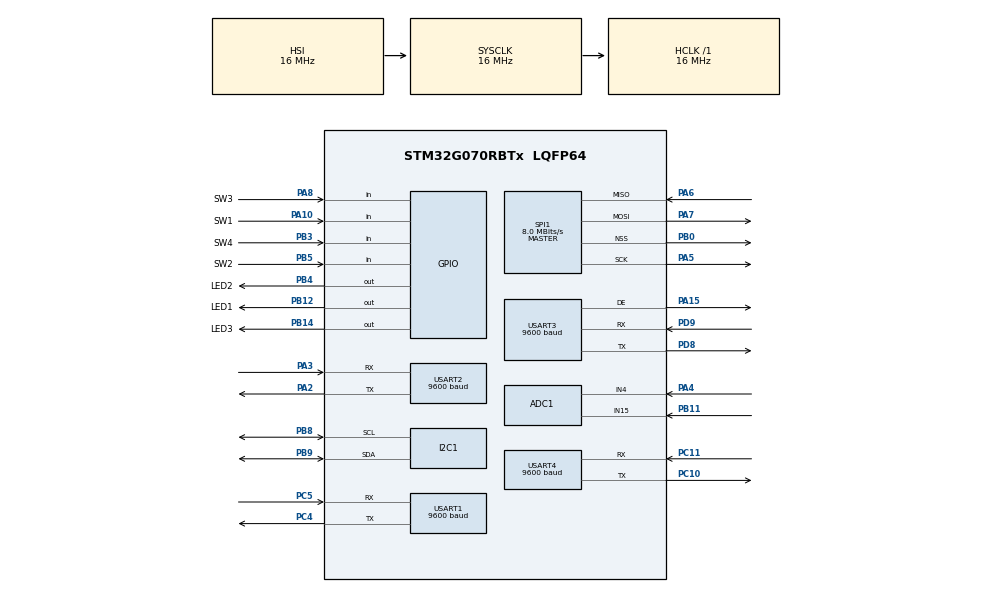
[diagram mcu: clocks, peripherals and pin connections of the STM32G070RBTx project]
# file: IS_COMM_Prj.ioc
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ADC1.DiscontinuousConvMode=ENABLE
ADC1.NbrOfConversion=1
ADC1.NbrOfConversionFlag=0
ADC1.SelectedChannel=ADC_CHANNEL_4|ADC_CHANNEL_15
ADC1.Sequencer=NOT_FULLY_CONFIGURABLE
ADC1.master=1
Mcu.Family=STM32G0
Mcu.Name=STM32G070RBTx
Mcu.Package=LQFP64
NVIC.USART1_IRQn=true\:0\:0\:false\:false\:true\:true\:true
NVIC.USART2_IRQn=true\:0\:0\:false\:false\:true\:true\:true
NVIC.USART3_4_IRQn=true\:0\:0\:false\:false\:true\:true\:true
PA10.GPIO_Label=SW1
PA10.Signal=GPIO_Input
PA15.Mode=Hardware Flow Control (RS485)
PA15.Signal=USART3_DE
PA2.Mode=Asynchronous
PA2.Signal=USART2_TX
PA3.Mode=Asynchronous
PA3.Signal=USART2_RX
PA4.Mode=IN4
PA4.Signal=ADC1_IN4
PA5.Mode=Full_Duplex_Master
PA5.Signal=SPI1_SCK
PA6.Mode=Full_Duplex_Master
PA6.Signal=SPI1_MISO
PA7.Mode=Full_Duplex_Master
PA7.Signal=SPI1_MOSI
PA8.GPIO_Label=SW3
PA8.Signal=GPIO_Input
PB0.Mode=NSS_Signal_Hard_Output
PB0.Signal=SPI1_NSS
PB11.Signal=SharedAnalog_PB11
PB12.GPIO_Label=LED1
PB12.Signal=GPIO_Output
PB14.GPIO_Label=LED3
PB14.Signal=GPIO_Output
PB3.GPIO_Label=SW4
PB3.Signal=GPIO_Input
PB4.GPIO_Label=LED2
PB4.Signal=GPIO_Output
PB5.GPIO_Label=SW2
PB5.Signal=GPIO_Input
PB8.Mode=I2C
PB8.Signal=I2C1_SCL
PB9.Mode=I2C
PB9.Signal=I2C1_SDA
PC10.Mode=Asynchronous
PC10.Signal=USART4_TX
PC11.Mode=Asynchronous
PC11.Signal=USART4_RX
PC4.Mode=Asynchronous
PC4.Signal=USART1_TX
PC5.Mode=Asynchronous
PC5.Signal=USART1_RX
PD8.Mode=Asynchronous
PD8.Signal=USART3_TX
PD9.Mode=Asynchronous
PD9.Signal=USART3_RX
ProjectManager.HeapSize=0x200
ProjectManager.StackSize=0x400
ProjectManager.TargetToolchain=EWARM V8.32
RCC.AHBFreq_Value=16000000
RCC.CortexFreq_Value=16000000
RCC.EXTERNAL_CLOCK_VALUE=48000
RCC.HCLKFreq_Value=16000000
RCC.HSE_VALUE=8000000
RCC.HSI_VALUE=16000000
RCC.LSE_VALUE=32768
RCC.SYSCLKFreq_VALUE=16000000
RCC.VCOOutputFreq_Value=128000000
SH.SharedAnalog_PB11.0=GPIO_Analog
SH.SharedAnalog_PB11.1=ADC1_IN15,IN15
SPI1.CalculateBaudRate=8.0 MBits/s
SPI1.DataSize=SPI_DATASIZE_8BIT
SPI1.Direction=SPI_DIRECTION_2LINES
SPI1.Mode=SPI_MODE_MASTER
SPI1.VirtualNSS=VM_NSSHARD
SPI1.VirtualType=VM_MASTER
USART1.BaudRate=9600
USART1.VirtualMode-Asynchronous=VM_ASYNC
USART2.BaudRate=9600
USART2.VirtualMode-Asynchronous=VM_ASYNC
USART3.BaudRate=9600
USART3.VirtualMode-Asynchronous=VM_ASYNC
USART3.VirtualMode-Hardware\ Flow\ Control\ (RS485)=VM_ASYNC
USART4.BaudRate=9600
USART4.VirtualMode-Asynchronous=VM_ASYNC
VP_SYS_VS_DBSignals.Mode=DisableDeadBatterySignals
board=custom

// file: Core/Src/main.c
/* USER CODE BEGIN Header */
/**
  ******************************************************************************
  * @file           : main.c
  * @brief          : Main program body
  ******************************************************************************
  * @attention
  *
  * <h2><center>&copy; Copyright (c) 2022 STMicroelectronics.
  * All rights reserved.</center></h2>
  *
  * This software component is licensed by ST under BSD 3-Clause license,
  * the "License"; You may not use this file except in compliance with the
  * License. You may obtain a copy of the License at:
  *                        opensource.org/licenses/BSD-3-Clause
  *
  ******************************************************************************
  */
/* USER CODE END Header */
#include "main.h"

/* USER CODE BEGIN Includes */
#include "stm32g0xx_ll_usart.h"
#include "scheduler.h"
#include "serial.h"
#include "gps.h"
#include "PC_interface.h"

/* USER CODE END Includes */

ADC_HandleTypeDef hadc1;

I2C_HandleTypeDef hi2c1;

SPI_HandleTypeDef hspi1;

UART_HandleTypeDef huart1;
UART_HandleTypeDef huart2;
UART_HandleTypeDef huart3;
UART_HandleTypeDef huart4;

/* USER CODE BEGIN PV */
// scheduler stuff
extern uint8_t ten_mS_Flag;
extern uint8_t twentyfive_mS_Flag;
extern uint8_t hundred_mS_Flag;
extern uint8_t one_S_Flag;

uint8_t charCounter = 0;
uint8_t char2Send[2] = {0, 0};

// Fiber Optic stuff
uint8_t byteReceived = 0;

// Keyboard Stuff
uint8_t keys = 0x0F;

/* USER CODE END PV */

void SystemClock_Config(void);
static void MX_GPIO_Init(void);
static void MX_USART3_UART_Init(void);
static void MX_USART1_UART_Init(void);
static void MX_USART2_UART_Init(void);
static void MX_USART4_UART_Init(void);
static void MX_ADC1_Init(void);
static void MX_I2C1_Init(void);
static void MX_SPI1_Init(void);

int main(void)
{

  /* MCU Configuration--------------------------------------------------------*/

  /* Reset of all peripherals, Initializes the Flash interface and the Systick. */
  HAL_Init();

  /* Configure the system clock */
  SystemClock_Config();

  /* Initialize all configured peripherals */
  MX_GPIO_Init();
  MX_USART3_UART_Init();
  MX_USART1_UART_Init();
  MX_USART2_UART_Init();
  MX_USART4_UART_Init();
  MX_ADC1_Init();
  MX_I2C1_Init();
  MX_SPI1_Init();
  /* USER CODE BEGIN 2 */
  LL_USART_EnableIT_RXNE_RXFNE(USART1); // GPS
  LL_USART_EnableIT_RXNE_RXFNE(USART2); // PC
  LL_USART_EnableIT_RXNE_RXFNE(USART3);  // Remotes (ModBus and DIG_Link
  LL_USART_EnableIT_RXNE_RXFNE(USART4);  // Fiber Optice

  /* USER CODE END 2 */

  /* Infinite loop */
  /* USER CODE BEGIN WHILE */
  while (1)
  {
    //---------------------------------
    // 10mS Tasks
    if (ten_mS_Flag) {
      ten_mS_Flag = false;

    }  // end of 10mS Tasks
    //---------------------------------

    //---------------------------------
    // 25mS Tasks
    if (twentyfive_mS_Flag) {
      twentyfive_mS_Flag = false;

    }  // end of 25mS Tasks
    //---------------------------------

    //---------------------------------
    // 100mS Tasks
    if (hundred_mS_Flag) {
      hundred_mS_Flag = false;

      keys = (HAL_GPIO_ReadPin(SW1) << 3) || (HAL_GPIO_ReadPin(SW1) << 2) || (HAL_GPIO_ReadPin(SW1) << 1) || (HAL_GPIO_ReadPin(SW1) << 0);

    }  // end of 100mS Tasks
    //---------------------------------

    //---------------------------------
    // 1 Sec Tasks
    if (one_S_Flag) {
      one_S_Flag = false;

      char2Send[0] = charCounter++ + 0x40;
      HAL_UART_Transmit(&huart3, char2Send, 1, 1000);   // remote bus
      HAL_UART_Transmit(&huart4, char2Send, 1, 1000);   // fiber optic

      if (charCounter > 0x3A) {
        charCounter = 0;
        char2Send[0] = '\n';
        HAL_UART_Transmit(&huart3, char2Send, 1, 1000);
        HAL_UART_Transmit(&huart4, char2Send, 1, 1000);
      }

    } // end of 1Sec Tasks
    //---------------------------------

    //---------------------------------
    // Every time through the loop

    // If a packet is received...
    if (gpsProcessPacket == true) {
      gpsProcessPacket = false;

      ProcessGpsPacket();
    }

    if (pcProcessPacket == true) {
      pcProcessPacket = false;

      ProcessGpsPacket();
    }

    // If the buffer contains characters
    if (!IsBufferEmpty(&gps_inputBuffer))
      ProcessGpsInputChar(&gps_inputBuffer);

    if (!IsBufferEmpty(&pc_inputBuffer))
      ProcessPcInputChar(&pc_inputBuffer);

    // end Every time through the loop
    //---------------------------------

    /* USER CODE END WHILE */

  }
}

void SystemClock_Config(void)
{
  RCC_OscInitTypeDef RCC_OscInitStruct = {0};
  RCC_ClkInitTypeDef RCC_ClkInitStruct = {0};
  RCC_PeriphCLKInitTypeDef PeriphClkInit = {0};

  /** Configure the main internal regulator output voltage
  */
  HAL_PWREx_ControlVoltageScaling(PWR_REGULATOR_VOLTAGE_SCALE1);
  /** Initializes the RCC Oscillators according to the specified parameters
  * in the RCC_OscInitTypeDef structure.
  */
  RCC_OscInitStruct.OscillatorType = RCC_OSCILLATORTYPE_HSI;
  RCC_OscInitStruct.HSIState = RCC_HSI_ON;
  RCC_OscInitStruct.HSIDiv = RCC_HSI_DIV1;
  RCC_OscInitStruct.HSICalibrationValue = RCC_HSICALIBRATION_DEFAULT;
  RCC_OscInitStruct.PLL.PLLState = RCC_PLL_NONE;
  if (HAL_RCC_OscConfig(&RCC_OscInitStruct) != HAL_OK)
  {
    Error_Handler();
  }
  /** Initializes the CPU, AHB and APB buses clocks
  */
  RCC_ClkInitStruct.ClockType = RCC_CLOCKTYPE_HCLK|RCC_CLOCKTYPE_SYSCLK
                              |RCC_CLOCKTYPE_PCLK1;
  RCC_ClkInitStruct.SYSCLKSource = RCC_SYSCLKSOURCE_HSI;
  RCC_ClkInitStruct.AHBCLKDivider = RCC_SYSCLK_DIV1;
  RCC_ClkInitStruct.APB1CLKDivider = RCC_HCLK_DIV1;

  if (HAL_RCC_ClockConfig(&RCC_ClkInitStruct, FLASH_LATENCY_0) != HAL_OK)
  {
    Error_Handler();
  }
  /** Initializes the peripherals clocks
  */
  PeriphClkInit.PeriphClockSelection = RCC_PERIPHCLK_USART1|RCC_PERIPHCLK_USART2
                              |RCC_PERIPHCLK_I2C1|RCC_PERIPHCLK_ADC;
  PeriphClkInit.Usart1ClockSelection = RCC_USART1CLKSOURCE_PCLK1;
  PeriphClkInit.Usart2ClockSelection = RCC_USART2CLKSOURCE_PCLK1;
  PeriphClkInit.I2c1ClockSelection = RCC_I2C1CLKSOURCE_PCLK1;
  PeriphClkInit.AdcClockSelection = RCC_ADCCLKSOURCE_SYSCLK;
  if (HAL_RCCEx_PeriphCLKConfig(&PeriphClkInit) != HAL_OK)
  {
    Error_Handler();
  }
}

static void MX_ADC1_Init(void)
{

  ADC_ChannelConfTypeDef sConfig = {0};

  /** Configure the global features of the ADC (Clock, Resolution, Data Alignment and number of conversion)
  */
  hadc1.Instance = ADC1;
  hadc1.Init.ClockPrescaler = ADC_CLOCK_SYNC_PCLK_DIV2;
  hadc1.Init.Resolution = ADC_RESOLUTION_12B;
  hadc1.Init.DataAlign = ADC_DATAALIGN_RIGHT;
  hadc1.Init.ScanConvMode = ADC_SCAN_SEQ_FIXED;
  hadc1.Init.EOCSelection = ADC_EOC_SINGLE_CONV;
  hadc1.Init.LowPowerAutoWait = DISABLE;
  hadc1.Init.LowPowerAutoPowerOff = DISABLE;
  hadc1.Init.ContinuousConvMode = DISABLE;
  hadc1.Init.NbrOfConversion = 1;
  hadc1.Init.DiscontinuousConvMode = ENABLE;
  hadc1.Init.ExternalTrigConv = ADC_SOFTWARE_START;
  hadc1.Init.ExternalTrigConvEdge = ADC_EXTERNALTRIGCONVEDGE_NONE;
  hadc1.Init.DMAContinuousRequests = DISABLE;
  hadc1.Init.Overrun = ADC_OVR_DATA_PRESERVED;
  hadc1.Init.SamplingTimeCommon1 = ADC_SAMPLETIME_1CYCLE_5;
  hadc1.Init.OversamplingMode = DISABLE;
  hadc1.Init.TriggerFrequencyMode = ADC_TRIGGER_FREQ_HIGH;
  if (HAL_ADC_Init(&hadc1) != HAL_OK)
  {
    Error_Handler();
  }
  /** Configure Regular Channel
  */
  sConfig.Channel = ADC_CHANNEL_4;
  sConfig.Rank = ADC_RANK_CHANNEL_NUMBER;
  if (HAL_ADC_ConfigChannel(&hadc1, &sConfig) != HAL_OK)
  {
    Error_Handler();
  }
  /** Configure Regular Channel
  */
  sConfig.Channel = ADC_CHANNEL_15;
  if (HAL_ADC_ConfigChannel(&hadc1, &sConfig) != HAL_OK)
  {
    Error_Handler();
  }

}

static void MX_I2C1_Init(void)
{

  hi2c1.Instance = I2C1;
  hi2c1.Init.Timing = 0x00303D5B;
  hi2c1.Init.OwnAddress1 = 0;
  hi2c1.Init.AddressingMode = I2C_ADDRESSINGMODE_7BIT;
  hi2c1.Init.DualAddressMode = I2C_DUALADDRESS_DISABLE;
  hi2c1.Init.OwnAddress2 = 0;
  hi2c1.Init.OwnAddress2Masks = I2C_OA2_NOMASK;
  hi2c1.Init.GeneralCallMode = I2C_GENERALCALL_DISABLE;
  hi2c1.Init.NoStretchMode = I2C_NOSTRETCH_DISABLE;
  if (HAL_I2C_Init(&hi2c1) != HAL_OK)
  {
    Error_Handler();
  }
  /** Configure Analogue filter
  */
  if (HAL_I2CEx_ConfigAnalogFilter(&hi2c1, I2C_ANALOGFILTER_ENABLE) != HAL_OK)
  {
    Error_Handler();
  }
  /** Configure Digital filter
  */
  if (HAL_I2CEx_ConfigDigitalFilter(&hi2c1, 0) != HAL_OK)
  {
    Error_Handler();
  }

}

static void MX_SPI1_Init(void)
{

  /* SPI1 parameter configuration*/
  hspi1.Instance = SPI1;
  hspi1.Init.Mode = SPI_MODE_MASTER;
  hspi1.Init.Direction = SPI_DIRECTION_2LINES;
  hspi1.Init.DataSize = SPI_DATASIZE_8BIT;
  hspi1.Init.CLKPolarity = SPI_POLARITY_LOW;
  hspi1.Init.CLKPhase = SPI_PHASE_1EDGE;
  hspi1.Init.NSS = SPI_NSS_HARD_OUTPUT;
  hspi1.Init.BaudRatePrescaler = SPI_BAUDRATEPRESCALER_2;
  hspi1.Init.FirstBit = SPI_FIRSTBIT_MSB;
  hspi1.Init.TIMode = SPI_TIMODE_DISABLE;
  hspi1.Init.CRCCalculation = SPI_CRCCALCULATION_DISABLE;
  hspi1.Init.CRCPolynomial = 7;
  hspi1.Init.CRCLength = SPI_CRC_LENGTH_DATASIZE;
  hspi1.Init.NSSPMode = SPI_NSS_PULSE_ENABLE;
  if (HAL_SPI_Init(&hspi1) != HAL_OK)
  {
    Error_Handler();
  }

}

static void MX_USART1_UART_Init(void)
{

  huart1.Instance = USART1;
  huart1.Init.BaudRate = 9600;
  huart1.Init.WordLength = UART_WORDLENGTH_8B;
  huart1.Init.StopBits = UART_STOPBITS_1;
  huart1.Init.Parity = UART_PARITY_NONE;
  huart1.Init.Mode = UART_MODE_TX_RX;
  huart1.Init.HwFlowCtl = UART_HWCONTROL_NONE;
  huart1.Init.OverSampling = UART_OVERSAMPLING_16;
  huart1.Init.OneBitSampling = UART_ONE_BIT_SAMPLE_DISABLE;
  huart1.Init.ClockPrescaler = UART_PRESCALER_DIV1;
  huart1.AdvancedInit.AdvFeatureInit = UART_ADVFEATURE_NO_INIT;
  if (HAL_UART_Init(&huart1) != HAL_OK)
  {
    Error_Handler();
  }
  if (HAL_UARTEx_SetTxFifoThreshold(&huart1, UART_TXFIFO_THRESHOLD_1_8) != HAL_OK)
  {
    Error_Handler();
  }
  if (HAL_UARTEx_SetRxFifoThreshold(&huart1, UART_RXFIFO_THRESHOLD_1_8) != HAL_OK)
  {
    Error_Handler();
  }
  if (HAL_UARTEx_DisableFifoMode(&huart1) != HAL_OK)
  {
    Error_Handler();
  }

}

static void MX_USART2_UART_Init(void)
{

  huart2.Instance = USART2;
  huart2.Init.BaudRate = 9600;
  huart2.Init.WordLength = UART_WORDLENGTH_8B;
  huart2.Init.StopBits = UART_STOPBITS_1;
  huart2.Init.Parity = UART_PARITY_NONE;
  huart2.Init.Mode = UART_MODE_TX_RX;
  huart2.Init.HwFlowCtl = UART_HWCONTROL_NONE;
  huart2.Init.OverSampling = UART_OVERSAMPLING_16;
  huart2.Init.OneBitSampling = UART_ONE_BIT_SAMPLE_DISABLE;
  huart2.Init.ClockPrescaler = UART_PRESCALER_DIV1;
  huart2.AdvancedInit.AdvFeatureInit = UART_ADVFEATURE_NO_INIT;
  if (HAL_UART_Init(&huart2) != HAL_OK)
  {
    Error_Handler();
  }
  if (HAL_UARTEx_SetTxFifoThreshold(&huart2, UART_TXFIFO_THRESHOLD_1_8) != HAL_OK)
  {
    Error_Handler();
  }
  if (HAL_UARTEx_SetRxFifoThreshold(&huart2, UART_RXFIFO_THRESHOLD_1_8) != HAL_OK)
  {
    Error_Handler();
  }
  if (HAL_UARTEx_DisableFifoMode(&huart2) != HAL_OK)
  {
    Error_Handler();
  }

}

static void MX_USART3_UART_Init(void)
{

  huart3.Instance = USART3;
  huart3.Init.BaudRate = 9600;
  huart3.Init.WordLength = UART_WORDLENGTH_8B;
  huart3.Init.StopBits = UART_STOPBITS_1;
  huart3.Init.Parity = UART_PARITY_NONE;
  huart3.Init.Mode = UART_MODE_TX_RX;
  huart3.Init.HwFlowCtl = UART_HWCONTROL_NONE;
  huart3.Init.OverSampling = UART_OVERSAMPLING_16;
  huart3.Init.OneBitSampling = UART_ONE_BIT_SAMPLE_DISABLE;
  huart3.Init.ClockPrescaler = UART_PRESCALER_DIV1;
  huart3.AdvancedInit.AdvFeatureInit = UART_ADVFEATURE_NO_INIT;
  if (HAL_RS485Ex_Init(&huart3, UART_DE_POLARITY_HIGH, 0, 0) != HAL_OK)
  {
    Error_Handler();
  }

}

static void MX_USART4_UART_Init(void)
{

  huart4.Instance = USART4;
  huart4.Init.BaudRate = 9600;
  huart4.Init.WordLength = UART_WORDLENGTH_8B;
  huart4.Init.StopBits = UART_STOPBITS_1;
  huart4.Init.Parity = UART_PARITY_NONE;
  huart4.Init.Mode = UART_MODE_TX_RX;
  huart4.Init.HwFlowCtl = UART_HWCONTROL_NONE;
  huart4.Init.OverSampling = UART_OVERSAMPLING_16;
  huart4.Init.OneBitSampling = UART_ONE_BIT_SAMPLE_DISABLE;
  huart4.Init.ClockPrescaler = UART_PRESCALER_DIV1;
  huart4.AdvancedInit.AdvFeatureInit = UART_ADVFEATURE_NO_INIT;
  if (HAL_UART_Init(&huart4) != HAL_OK)
  {
    Error_Handler();
  }

}

static void MX_GPIO_Init(void)
{
  GPIO_InitTypeDef GPIO_InitStruct = {0};

  /* GPIO Ports Clock Enable */
  __HAL_RCC_GPIOC_CLK_ENABLE();
  __HAL_RCC_GPIOA_CLK_ENABLE();
  __HAL_RCC_GPIOB_CLK_ENABLE();
  __HAL_RCC_GPIOD_CLK_ENABLE();

  /*Configure GPIO pin Output Level */
  HAL_GPIO_WritePin(GPIOB, LED1_Pin|LED3_Pin|LED2_Pin, GPIO_PIN_RESET);

  /*Configure GPIO pins : LED1_Pin LED3_Pin LED2_Pin */
  GPIO_InitStruct.Pin = LED1_Pin|LED3_Pin|LED2_Pin;
  GPIO_InitStruct.Mode = GPIO_MODE_OUTPUT_PP;
  GPIO_InitStruct.Pull = GPIO_NOPULL;
  GPIO_InitStruct.Speed = GPIO_SPEED_FREQ_LOW;
  HAL_GPIO_Init(GPIOB, &GPIO_InitStruct);

  /*Configure GPIO pins : SW3_Pin SW1_Pin */
  GPIO_InitStruct.Pin = SW3_Pin|SW1_Pin;
  GPIO_InitStruct.Mode = GPIO_MODE_INPUT;
  GPIO_InitStruct.Pull = GPIO_NOPULL;
  HAL_GPIO_Init(GPIOA, &GPIO_InitStruct);

  /*Configure GPIO pins : SW4_Pin SW2_Pin */
  GPIO_InitStruct.Pin = SW4_Pin|SW2_Pin;
  GPIO_InitStruct.Mode = GPIO_MODE_INPUT;
  GPIO_InitStruct.Pull = GPIO_NOPULL;
  HAL_GPIO_Init(GPIOB, &GPIO_InitStruct);

}

void Error_Handler(void)
{
  __disable_irq();
  while (1)
  {
  }
}

/************************ (C) COPYRIGHT STMicroelectronics *****END OF FILE****/
